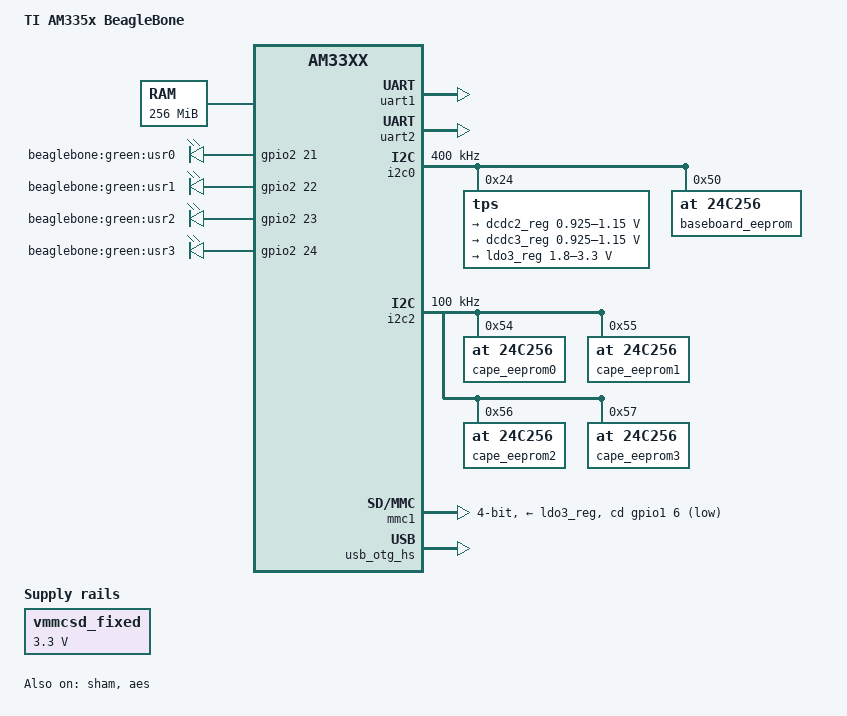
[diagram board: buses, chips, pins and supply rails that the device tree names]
/*
 * Copyright (C) 2012 Texas Instruments Incorporated - http://www.ti.com/
 *
 * This program is free software; you can redistribute it and/or modify
 * it under the terms of the GNU General Public License version 2 as
 * published by the Free Software Foundation.
 */

/include/ "am33xx.dtsi"

/ {
	model = "TI AM335x BeagleBone";
	compatible = "ti,am335x-bone", "ti,am33xx";

	cpus {
		cpu@0 {
			cpu0-supply = <&dcdc2_reg>;
		};
	};

	memory {
		device_type = "memory";
		reg = <0x80000000 0x10000000>; /* 256 MB */
	};

	am33xx_pinmux: pinmux@44e10800 {
		pinctrl-names = "default";
		pinctrl-0 = <	&dout_pins	&input_pins	&userled_pins	&rs485_pins	&din_pins
						&relay_pins	&emu2_pins	&emmc_rst_pins	&rtc_pins	&eth2_pins
						&test_pins
			>;

		dout_pins: pinmux_dout_pins {												
			pinctrl-single,pins = <												
				0xC0	0x2F	//	DOUT0, mode=GPIO2_14, mux pin=48, gpio=GPIO2_14 #78, disable HDMI/LCD! 0x2F = slew fast, I/O, pull disabled, mode 7, SYS_BOOT8
				0xC4	0x2F	//	DOUT1, mode=GPIO2_15, mux pin=49, gpio=GPIO2_15 #79, disable HDMI/LCD! 0x2F = slew fast, I/O, pull disabled, mode 7, SYS_BOOT9
				0xC8	0x2F	//	DOUT2, mode=GPIO2_16, mux pin=50, gpio=GPIO2_16 #80, disable HDMI/LCD! 0x2F = slew fast, I/O, pull disabled, mode 7, SYS_BOOT10
				0xCC	0x2F	//	DOUT3, mode=GPIO2_17, mux pin=51, gpio=GPIO2_17 #81, disable HDMI/LCD! 0x2F = slew fast, I/O, pull disabled, mode 7, SYS_BOOT11
			>;												
		};												

		input_pins: pinmux_input_pins {											
			pinctrl-single,pins = <											
				0xA0	0x2F	//	Digital Input, mode=GPIO2_6,  mux pin=40, gpio=GPIO2_6  #70, disable HDMI/LCD! 0x2F = slew fast, I/O, pull disabled, mode 7, SYS_BOOT0
				0xA4	0x2F	//	Digital Input, mode=GPIO2_7,  mux pin=41, gpio=GPIO2_7  #71, disable HDMI/LCD! 0x2F = slew fast, I/O, pull disabled, mode 7, SYS_BOOT1
				0xA8	0x2F	//	Digital Input, mode=GPIO2_8,  mux pin=42, gpio=GPIO2_8  #72, disable HDMI/LCD! 0x2F = slew fast, I/O, pull disabled, mode 7, SYS_BOOT2
				0xAC	0x2F	//	Digital Input, mode=GPIO2_9,  mux pin=43, gpio=GPIO2_9  #73, disable HDMI/LCD! 0x2F = slew fast, I/O, pull disabled, mode 7, SYS_BOOT3
				0xB0	0x2F	//	Digital Input, mode=GPIO2_10, mux pin=44, gpio=GPIO2_10 #74, disable HDMI/LCD! 0x2F = slew fast, I/O, pull disabled, mode 7, SYS_BOOT4
				0xB4	0x2F	//	Digital Input, mode=GPIO2_11, mux pin=45, gpio=GPIO2_11 #75, disable HDMI/LCD! 0x2F = slew fast, I/O, pull disabled, mode 7, SYS_BOOT5
				0xB8	0x2F	//	Digital Input, mode=GPIO2_12, mux pin=46, gpio=GPIO2_12 #76, disable HDMI/LCD! 0x2F = slew fast, I/O, pull disabled, mode 7, SYS_BOOT6
				0xBC	0x2F	//	Digital Input, mode=GPIO2_13, mux pin=47, gpio=GPIO2_13 #77, disable HDMI/LCD! 0x2F = slew fast, I/O, pull disabled, mode 7, SYS_BOOT7
				0xD0	0x2F	//	Digital Input, mode=GPIO0_8,  mux pin=52, gpio=GPIO0_8  #8,  disable HDMI/LCD! 0x2F = slew fast, I/O, pull disabled, mode 7, SYS_BOOT12
				0xD4	0x2F	//	Digital Input, mode=GPIO0_9,  mux pin=53, gpio=GPIO0_9  #9,  disable HDMI/LCD! 0x2F = slew fast, I/O, pull disabled, mode 7, SYS_BOOT13
				0xD8	0x2F	//	Digital Input, mode=GPIO0_10, mux pin=54, gpio=GPIO0_10 #10, disable HDMI/LCD! 0x2F = slew fast, I/O, pull disabled, mode 7, SYS_BOOT14
				0xDC	0x2F	//	Digital Input, mode=GPIO0_11, mux pin=55, gpio=GPIO0_11 #11, disable HDMI/LCD! 0x2F = slew fast, I/O, pull disabled, mode 7, SYS_BOOT15
			>;											
		};											

		userled_pins: pinmux_userled_pins {
			pinctrl-single,pins = <											
				0xE0	0x2F	//	LED0, mode=GPIO2_22, mux pin=56, gpio=GPIO2_22 #86, Per charles disable pull (we have external resistors)
				0xE4	0x2F	//	LED1, mode=GPIO2_23, mux pin=57, gpio=GPIO2_23 #87, Per charles disable pull (we have external resistors)
				0xE8	0x2F	//	LED2, mode=GPIO2_24, mux pin=58, gpio=GPIO2_24 #88, Per charles disable pull (we have external resistors)
				0xEC	0x2F	//	LED3, mode=GPIO2_25, mux pin=59, gpio=GPIO2_25 #89, Per charles disable pull (we have external resistors)
			>;											
		};											

		rs485_pins: pinmux_rs485_pins {
			pinctrl-single,pins = <											
				0x180	0x28	//	RS485, mode=UART1_RXD, mux pin=96, gpio=GPIO0_14 #14, slew=fast,I/O,pull disabled,mode=0
				0x184	0x08	//	RS485, mode=UART1_TXD, mux pin=97, gpio=GPIO0_15 #15, slew=fast,  O,pull disabled,mode=0
			>;											
		};											

		din_pins: pinmux_din_pins {
			pinctrl-single,pins = <											
				0x190	0x27	//	DIN0, mode=GPIO3_14, mux pin=100, gpio=GPIO3_14	#110, 0x27 = slew=fast,I/O,pulldown,mode=7
				0x194	0x27	//	DIN1, mode=GPIO3_15, mux pin=101, gpio=GPIO3_15	#111, 0x27 = slew=fast,I/O,pulldown,mode=7
				0x198	0x27	//	DIN2, mode=GPIO3_16, mux pin=102, gpio=GPIO3_16	#112, 0x27 = slew=fast,I/O,pulldown,mode=7
				0x19C	0x27	//	DIN3, mode=GPIO3_17, mux pin=103, gpio=GPIO3_17	#113, 0x27 = slew=fast,I/O,pulldown,mode=7
				0x30	0x27	//	DIN4, mode=GPIO1_12, mux pin=12,  gpio=GPIO1_12	#44,  0x27 = slew=fast,I/O,pulldown,mode=7
				0x34	0x27	//	DIN5, mode=GPIO1_13, mux pin=13,  gpio=GPIO1_13	#45,  0x27 = slew=fast,I/O,pulldown,mode=7
				0x38	0x27	//	DIN6, mode=GPIO1_14, mux pin=14,  gpio=GPIO1_14	#46,  0x27 = slew=fast,I/O,pulldown,mode=7
				0x3C	0x27	//	DIN7, mode=GPIO1_15, mux pin=15,  gpio=GPIO1_15	#47,  0x27 = slew=fast,I/O,pulldown,mode=7
			>;											
		};

		relay_pins: pinmux_relay_pins {
			pinctrl-single,pins = <											
				0x90	0x0F	//	Relay0, mode=GPIO2_2, mux pin=36, gpio=GPIO2_2 #66, slew=fast,O,pull disabled,mode=7
				0x94	0x0F	//	Relay1, mode=GPIO2_3, mux pin=37, gpio=GPIO2_3 #67, slew=fast,O,pull disabled,mode=7
				0x98	0x0F	//	Relay2, mode=GPIO2_4, mux pin=38, gpio=GPIO2_4 #68, slew=fast,O,pull disabled,mode=7
				0x9C	0x0F	//	Relay3, mode=GPIO2_5, mux pin=39, gpio=GPIO2_5 #69, slew=fast,O,pull disabled,mode=7
			>;											
		};											

		emu2_pins: pinmux_emu2_pins {
			pinctrl-single,pins = <											
				0x1A4	0x34	//	JTAG_EMU2, mode=EMU2, mux pin=105, gpio=GPIO3_19 #115, 0x34 = slew fast, I/O, pullup, mode 4 (used same settings as EMU0 and EMU1 for I/O, slew, and pullup)
			>;											
		};											

		rtc_pins: pinmux_rtc_pins {
			pinctrl-single,pins = <											
				0x1B0	0x27	//	RTC_INT, mode=GPIO0_19, mux pin=108, gpio=GPIO0_19 #19, setup as GPIO for now - See firmware/capes/BB-BONE-CRYPTO-00A0.dts and BB-BONE-RTC-00A0.dts - uses ds1307 driver for RTC!!
			>;											
		};											

		emmc_rst_pins: pinmux_emmc_rst_pins {
			pinctrl-single,pins = <											
				0x7C	0x0F	//	EMMC_RST_INT, mode=GPIO1_29, mux pin=31, gpio=GPIO1_29 #61, slew=fast, O, pull disabled, mode 7
			>;											
		};											

		eth2_pins: pinmux_eth2_pins {
			pinctrl-single,pins = <											
				0x40	0x01	//	Ethernet 2nd module, mode=GMII2_TXEN,  mux pin=16, gpio=GPIO1_16 #48, slew fast, O, pulldown, mode 1
				0x44	0x21	//	Ethernet 2nd module, mode=GMII2_RXDV,  mux pin=17, gpio=GPIO1_17 #49, slew fast, I, pulldown, mode 1
				0x48	0x01	//	Ethernet 2nd module, mode=GMII2_TXD3,  mux pin=18, gpio=GPIO1_18 #50, slew fast, O, pulldown, mode 1
				0x4C	0x01	//	Ethernet 2nd module, mode=GMII2_TXD2,  mux pin=19, gpio=GPIO1_19 #51, slew fast, O, pulldown, mode 1
				0x50	0x01	//	Ethernet 2nd module, mode=GMII2_TXD1,  mux pin=20, gpio=GPIO1_20 #52, slew fast, O, pulldown, mode 1
				0x54	0x01	//	Ethernet 2nd module, mode=GMII2_TXD0,  mux pin=21, gpio=GPIO1_21 #53, slew fast, O, pulldown, mode 1
				0x58	0x21	//	Ethernet 2nd module, mode=GMII2_TXCLK, mux pin=22, gpio=GPIO1_22 #54, slew fast, I, pulldown, mode 1
				0x5C	0x21	//	Ethernet 2nd module, mode=GMII2_RXCLK, mux pin=23, gpio=GPIO1_23 #55, slew fast, I, pulldown, mode 1
				0x60	0x21	//	Ethernet 2nd module, mode=GMII2_RXD3,  mux pin=24, gpio=GPIO1_24 #56, slew fast, I, pulldown, mode 1
				0x64	0x21	//	Ethernet 2nd module, mode=GMII2_RXD2,  mux pin=25, gpio=GPIO1_25 #57, slew fast, I, pulldown, mode 1
				0x68	0x21	//	Ethernet 2nd module, mode=GMII2_RXD1,  mux pin=26, gpio=GPIO1_26 #58, slew fast, I, pulldown, mode 1
				0x6C	0x21	//	Ethernet 2nd module, mode=GMII2_RXD0,  mux pin=27, gpio=GPIO1_27 #59, slew fast, I, pulldown, mode 1
				0x78	0x29	//	Ethernet 2nd module, mode=GMII2_COL,   mux pin=30, gpio=GPIO1_28 #60, slew=fast, I/O, pull disabled, mode = 1
				0x70	0x29	//	Ethernet 2nd module, mode=GMII2_CRS,   mux pin=28, gpio=GPIO0_30 #30, slew=fast, I/O, pull disabled, mode = 1
				0x74	0x21	//	Ethernet 2nd module, mode=GMII2_RXERR, mux pin=29, gpio=GPIO0_31 #31, slew=fast,I/O,pulldown, mode=1
			>;											
		};											

		test_pins: pinmux_test_pins {
			pinctrl-single,pins = <											
				0x1A0	0x27	//	TP41	 mode=	GPIO3_18	 mux pin= 	104	 gpio= 	GPIO3_18	114	 0x27 = slew fast, I/O, pull down, mode 7
				0x1AC	0x27	//	TP36	 mode=	GPIO3_21	 mux pin= 	107	 gpio= 	GPIO3_21	117	 0x2F = slew fast, I/O, pull down, mode 7
				0x154	0x27	//	TP32	 mode=	GPIO0_3	 mux pin= 	85	 gpio= 	GPIO0_3	3	slew=fast,I/O,pulldown,mode=7
				0x150	0x27	//	TP31	 mode=	GPIO0_2	 mux pin= 	84	 gpio= 	GPIO0_2	2	slew=fast,I/O,pulldown,mode=7
				0x16C	0x27	//	TP33	 mode=	GPIO1_9	 mux pin= 	91	 gpio= 	GPIO1_9	41	slew=fast,I/O,pulldown,mode=7
				//0x178	0x27	//	TP34	 mode=	GPIO0_12	 mux pin= 	94	 gpio= 	GPIO0_12	12	disable i2c2 pins! slew=fast,I/O,pulldown,mode=7
				//0x17C	0x27	//	TP35	 mode=	GPIO0_13	 mux pin= 	95	 gpio= 	GPIO0_13	13	disable i2c2 pins! slew=fast,I/O,pulldown,mode=7
				0x20	0x27	//	TP23	 mode=	GPIO0_22	 mux pin= 	8	 gpio= 	GPIO0_22	22	slew=fast,I/O,pulldown,mode=7
				0x24	0x27	//	TP24	 mode=	GPIO0_23	 mux pin= 	9	 gpio= 	GPIO0_23	23	slew=fast,I/O,pulldown,mode=7
				0x28	0x27	//	TP25	 mode=	GPIO0_26	 mux pin= 	10	 gpio= 	GPIO0_26	26	slew=fast,I/O,pulldown,mode=7
				0x2C	0x27	//	TP26	 mode=	GPIO0_27	 mux pin= 	11	 gpio= 	GPIO0_27	27	slew=fast,I/O,pulldown,mode=7
				0x88	0x27	//	TP29	 mode=	GPIO2_0	 mux pin= 	34	 gpio= 	GPIO2_0	64	0
			>;											
		};											


		i2c0_pins: pinmux_i2c0_pins {
			pinctrl-single,pins = <
				0x188 0x70 	/* i2c0_sda, SLEWCTRL_SLOW | INPUT_PULLUP | MODE0 */
				0x18c 0x70	/* i2c0_scl, SLEWCTRL_SLOW | INPUT_PULLUP | MODE0 */
			>;
		};
		i2c2_pins: pinmux_i2c2_pins {
			pinctrl-single,pins = <
				0x178 0x73 	/* uart1_ctsn.i2c2_sda, SLEWCTRL_SLOW | INPUT_PULLUP | MODE3 */
				0x17c 0x73	/* uart1_rtsn.i2c2_scl, SLEWCTRL_SLOW | INPUT_PULLUP | MODE3 */
			>;
		};
		mmc1_pins: pinmux_mmc1_pins {
			pinctrl-single,pins = <
				0x160 0x2f /* GPIO0_6 (PIN_INPUT | MUX_MODE7) */
			>;
		};
	};

	ocp: ocp {

		uart1: serial@44e09000 {
			status = "okay";
		};

		uart2: serial@48022000 {
			status = "okay";
		};

		gpio-leds {
			compatible = "gpio-leds";
			pinctrl-names = "default";
			pinctrl-0 = <&userled_pins>;

			led0 {
				label = "beaglebone:green:usr0";
				gpios = <&gpio2 21 0>;
				linux,default-trigger = "heartbeat";
				default-state = "off";
			};

			led1 {
				label = "beaglebone:green:usr1";
				gpios = <&gpio2 22 0>;
				linux,default-trigger = "mmc0";
				default-state = "off";
			};

			led2 {
				label = "beaglebone:green:usr2";
				gpios = <&gpio2 23 0>;
				linux,default-trigger = "cpu0";
				default-state = "off";
			};

			led3 {
				label = "beaglebone:green:usr3";
				gpios = <&gpio2 24 0>;
				default-state = "off";
				linux,default-trigger = "mmc1";
			};
		};

		rtc@44e3e000 {
			ti,system-power-controller;
		};
	};

	bone_capemgr {
		compatible = "ti,bone-capemgr";
		status = "okay";

/*		eeprom = <&baseboard_eeprom>; */
		eeprom = <&ipkeys_bbrd_override_eeprom>;

		baseboardmaps {
			baseboard_beaglebone: board@0 {
				board-name = "A335BONE";
				compatible-name = "ti,beaglebone";
			};

			baseboard_beaglebone_black: board@1 {
				board-name = "A335BNLT";
				compatible-name = "ti,beaglebone-black";
			};

			baseboard_ipkeys: board@2 {
				board-name = "A335IPKY";
				compatible-name = "ti,beaglebone-black";
			};

		};

		/* added properties to baseboard eeprom to allow override.
		 * New properties are:
		 *    ti,bbrd-override (bool) (if not present, no override, other new properties ignored)
		 *    header (integer, 4 bytes, 0xAA, 0x55, 0x33, 0xEE)
		 *    board-name (string, 8 chars, default = "Board Na")
		 *    revision   (string, 4 chars, default = "00A0")
		 *    serial-number (string, 12 chars, default = "0000000000")
		 *    config-option (32 bytes, no default)
		 */
		ipkeys_bbrd_override_eeprom: baseboard_override_eeprom@0 {
			ti,bbrd-override;
			board-name = "A335IPKY";
		};

		slots {
			slot@0 {
				eeprom = <&cape_eeprom0>;
			};

			slot@1 {
				eeprom = <&cape_eeprom1>;
			};

			slot@2 {
				eeprom = <&cape_eeprom2>;
			};

			slot@3 {
				eeprom = <&cape_eeprom3>;
			};

			/* geiger cape version A0 without an EEPROM */
			slot@5 {
				ti,cape-override;
				compatible = "kernel-command-line", "runtime";
				board-name = "Bone-Geiger";
				version = "00A0";
				manufacturer = "Geiger Inc.";
				part-number = "BB-BONE-GEIGER";
			};

			/* Nixie cape version A0 without an EEPROM */
/* --- srs remove begin --- *
			slot@7 {
				ti,cape-override;
				compatible = "kernel-command-line", "runtime";
				board-name = "Bone-Nixie";
				version = "00A0";
				manufacturer = "Ranostay Industries";
				part-number = "BB-BONE-NIXIE";
			};
 * --- srs remove end  --- */
			/* adafruit 1.8" TFT prototype cape */
			slot@8 {
				ti,cape-override;
				compatible = "kernel-command-line", "runtime";
				board-name = "Bone-TFT";
				version = "00A0";
				manufacturer = "Adafruit";
				part-number = "BB-BONE-TFT-01";
			};

			/* adafruit RTC DS1307 prototype cape */
			slot@9 {
				ti,cape-override;
				compatible = "kernel-command-line", "runtime";
				board-name = "Bone-RTC";
				version = "00A0";
				manufacturer = "Adafruit";
				part-number = "BB-BONE-RTC-01";
			};

			slot@10 {
				ti,cape-override;
				compatible = "kernel-command-line", "runtime";
				board-name = "Bone-Hexy";
				version = "00A0";
				manufacturer = "Koen Kooi";
				part-number = "BB-BONE-HEXY-01";
			};
			/* MRF24J40 Cape Override */
			slot@11 {
				ti,cape-override;
				compatible = "kernel-command-line", "runtime";
				board-name = "Bone-MRF24J40";
				version = "00A0";
				manufacturer = "Signal 11 Software";
				part-number = "BB-BONE-MRF24J40";
			};

			/* RS232 cape */
			slot@12 {
				ti,cape-override;
				compatible = "kernel-command-line", "runtime";
				board-name = "BB-BONE-RS232";
				version = "00A0";
				manufacturer = "Adafruit";
				part-number = "BB-BONE-RS232-01";
			};

			/* GPS cape */
			slot@13 {
				compatible = "kernel-command-line", "runtime";
				board-name = "BB-BONE-GPS";
				version = "00A0";
				manufacturer = "Adafruit";
				part-number = "BB-BONE-GPS-01";
			};


			slot@16 {
				compatible = "kernel-command-line", "runtime";
				board-name = "BB-BONE-MIDI";
				version = "00A0";
				manufacturer = "Ranostay Industries";
				part-number = "BB-BONE-MIDI-01";
			};


			/* Beaglebone black has it soldered on */
			 slot@100 {
				ti,cape-override;
				priority = <1>;
				compatible = "ti,beaglebone-black";
				board-name = "Bone-LT-eMMC-2G";
				version = "00A0";
				manufacturer = "Texas Instruments";
				part-number = "BB-BONE-EMMC-2G";
			 };

			/* Beaglebone black has it soldered on */
/*--- srs remove begin --- *
			slot@101 {
				ti,cape-override;
				priority = <1>;
				compatible = "ti,beaglebone-black";
				board-name = "Bone-Black-HDMI";
				version = "00A0";
				manufacturer = "Texas Instruments";
				part-number = "BB-BONELT-HDMI";
			};
 * --- srs remove end --- */

			/* Beaglebone black has it soldered on (but no audio) */
/* --- srs remove begin --- *
			slot@102 {
				ti,cape-override;
				priority = <2>;
				compatible = "ti,beaglebone-black";
				board-name = "Bone-Black-HDMIN";
				version = "00A0";
				manufacturer = "Texas Instruments";
				part-number = "BB-BONELT-HDMIN";
			};
 * --- srs remove end --- */
		};

		/* mapping between board names and dtb objects */
		capemaps {
			/* DVI cape */
			cape@0 {
				/* board-name = "BeagleBone DVI-D CAPE"; */
				part-number = "BB-BONE-DVID-01";
				version@00A0 {
					version = "00A0";
					dtbo = "cape-bone-dvi-00A0.dtbo";
				};
				version@00A1 {
					version = "00A1", "01";
					dtbo = "cape-bone-dvi-00A1.dtbo";
				};
				version@00A2 {
					version = "00A2", "A2";
					dtbo = "cape-bone-dvi-00A2.dtbo";
				};
				version@00A3 {
					version = "00A3";
					dtbo = "cape-bone-dvi-00A2.dtbo";
				};
			};

			/* beaglebone black emmc on board */
			cape@1 {
				/* board-name = "BeagleBone 2G eMMC1 CAPE"; */
				part-number = "BB-BONE-EMMC-2G";
				version@00A0 {
					version = "00A0";
					dtbo = "cape-bone-2g-emmc1.dtbo";
				};
			};

			/* geiger cape */
			cape@2 {
				part-number = "BB-BONE-GEIGER";
				version@00A0 {
					version = "00A0";
					dtbo = "cape-bone-geiger-00A0.dtbo";
				};
			};

			/* LCD3 cape */
			cape@3 {
				part-number = "BB-BONE-LCD3-01";
				version@00A0 {
					version = "00A0";
					dtbo = "cape-bone-lcd3-00A0.dtbo";
				};
				version@00A2 {
					version = "00A2";
					dtbo = "cape-bone-lcd3-00A2.dtbo";
				};
			};

			/* Weather cape */
			cape@4 {
				part-number = "BB-BONE-WTHR-01";
				version@00A0 {
					version = "00A0";
					dtbo = "cape-bone-weather-00A0.dtbo";
				};
				version@00B0 {
					version = "00B0";
					dtbo = "cape-bone-weather-00B0.dtbo";
				};
			};

			/* beaglebone black hdmi on board */
			cape@5 {
				part-number = "BB-BONELT-HDMI";
				version@00A0 {
					version = "00A0";
					dtbo = "cape-boneblack-hdmi-00A0.dtbo";
				};
			};

			/* nixie cape */
			cape@6 {
				part-number = "BB-BONE-NIXIE";
				version@00A0 {
					version = "00A0";
					dtbo = "cape-bone-nixie-00A0.dtbo";
				};
			};
			cape@7 {
				part-number = "BB-BONE-TFT-01";
				version@00A0 {
					version = "00A0";
					dtbo = "cape-bone-adafruit-lcd-00A0.dtbo";
				};
			};

			cape@8 {
				part-number = "BB-BONE-RTC-01";
				version@00A0 {
					version = "00A0";
					dtbo = "BB-BONE-RTC-00A0.dtbo";
				};
			};

			cape@9 {
				part-number = "BB-BONE-HEXY-01";
				version@00A0 {
					version = "00A0";
					dtbo = "cape-bone-hexy-00A0.dtbo";
				};
			};
			/* mrf24j40 cape */
			cape@10 {
				part-number = "BB-BONE-MRF24J40";
				version@00A0 {
					version = "00A0";
					dtbo = "cape-bone-mrf24j40-00A0.dtbo";
				};
			};
			/* expansion test */
			cape@11 {
				part-number = "BB-BONE-EXPTEST";
				version@00A0 {
					version = "00A0";
					dtbo = "cape-bone-exptest-00A0.dtbo";
				};
			};
			cape@12 {
				part-number = "BB-BONE-RS232-01";
				version@00A0 {
					version = "00A0";
					dtbo = "BB-BONE-RS232-00A0.dtbo";
				};
			};

			cape@13 {
				part-number = "BB-BONE-GPS-01";
				version@00A0 {
					version = "00A0";
					dtbo = "BB-BONE-GPS-00A0.dtbo";
				};
			};


			/* beaglebone black hdmi on board (No audio) */
			cape@14 {
				part-number = "BB-BONELT-HDMIN";
				version@00A0 {
					version = "00A0";
					dtbo = "cape-boneblack-hdmin-00A0.dtbo";
				};
			};

			/* remain backwards compatible with old EEPROM */
			cape@15 {
				part-number = "2191";
				version@R2 {
					version = "R2";
					dtbo = "cape-bebopr-R2.dtbo";
				};
			};

			cape@16 {
				part-number = "BB-BONE-MIDI-01";
				version@00A0 {
					version = "00A0";
					dtbo = "BB-BONE-MIDI-00A0.dtbo";
				};

			};

			/* LOGIBONE cape */
			cape@17 {
				part-number = "BB-BONE-LOGIBONE";
				version@00R1 {
					version = "00R1";
					dtbo = "BB-BONE-LOGIBONE-00R1.dtbo";
				};
			};

		};
	};

	vmmcsd_fixed: fixedregulator@0 {
		compatible = "regulator-fixed";
		regulator-name = "vmmcsd_fixed";
		regulator-min-microvolt = <3300000>;
		regulator-max-microvolt = <3300000>;
	};

};

&i2c0 {
	status = "okay";
	clock-frequency = <400000>;
	pinctrl-names = "default";
	pinctrl-0 = <&i2c0_pins>;

	tps: tps@24 {
		reg = <0x24>;
	};

	baseboard_eeprom: baseboard_eeprom@50 {
		compatible = "at,24c256";
		reg = <0x50>;
	};
};

&i2c2 {
	status = "okay";
	pinctrl-names = "default";
	pinctrl-0 = <&i2c2_pins>;

	clock-frequency = <100000>;

	cape_eeprom0: cape_eeprom0@54 {
		compatible = "at,24c256";
		reg = <0x54>;
	};

	cape_eeprom1: cape_eeprom1@55 {
		compatible = "at,24c256";
		reg = <0x55>;
	};

	cape_eeprom2: cape_eeprom2@56 {
		compatible = "at,24c256";
		reg = <0x56>;
	};

	cape_eeprom3: cape_eeprom3@57 {
		compatible = "at,24c256";
		reg = <0x57>;
	};
};

/include/ "tps65217.dtsi"

&tps {
	ti,pmic-shutdown-controller;

	interrupt-parent = <&intc>;
	interrupts = <7>;	/* NNMI */

	regulators {
		dcdc1_reg: regulator@0 {
			regulator-always-on;
		};

		dcdc2_reg: regulator@1 {
			/* VDD_MPU voltage limits 0.95V - 1.26V with +/-4% tolerance */
			regulator-name = "vdd_mpu";
			regulator-min-microvolt = <925000>;
			regulator-max-microvolt = <1150000>;	/* nriedel IPKeys was 1325000 */
			regulator-boot-on;
			regulator-always-on;
		};

		dcdc3_reg: regulator@2 {
			/* VDD_CORE voltage limits 0.95V - 1.1V with +/-4% tolerance */
			regulator-name = "vdd_core";
			regulator-min-microvolt = <925000>;
			regulator-max-microvolt = <1150000>;
			regulator-boot-on;
			regulator-always-on;
		};

		ldo1_reg: regulator@3 {
			regulator-always-on;
		};

		ldo2_reg: regulator@4 {
			regulator-always-on;
		};

		ldo3_reg: regulator@5 {
			regulator-min-microvolt = <1800000>;
			regulator-max-microvolt = <3300000>;
			regulator-always-on;
		};

		ldo4_reg: regulator@6 {
			regulator-always-on;
		};
	};

};

&cpsw_emac0 {
	phy_id = <&davinci_mdio>, <0>;
};

&cpsw_emac1 {
	phy_id = <&davinci_mdio>, <1>;
};

&mmc1 {
	pinctrl-names = "default";
	pinctrl-0 = <&mmc1_pins>;
	bus-width = <0x4>;
	cd-gpios = <&gpio1 6 0>; /* gpio1 is misnamed, 0 == GPIO_ACTIVE_HIGH */
	cd-inverted;
	status = "okay";
	vmmc-supply = <&ldo3_reg>;
	ti,vcc-aux-disable-is-sleep;
};

&edma {
	ti,edma-xbar-event-map = <32 12>,	/* gpevt2 -> 12 */
				 <30 20>;	/* xdma_event_intr2 -> 20 */
};

&sham {
	status = "okay";
};

&aes {
	status = "okay";
};

&usb_otg_hs {
	interface_type = <1>;
	power = <250>;
	status = "okay";
};
